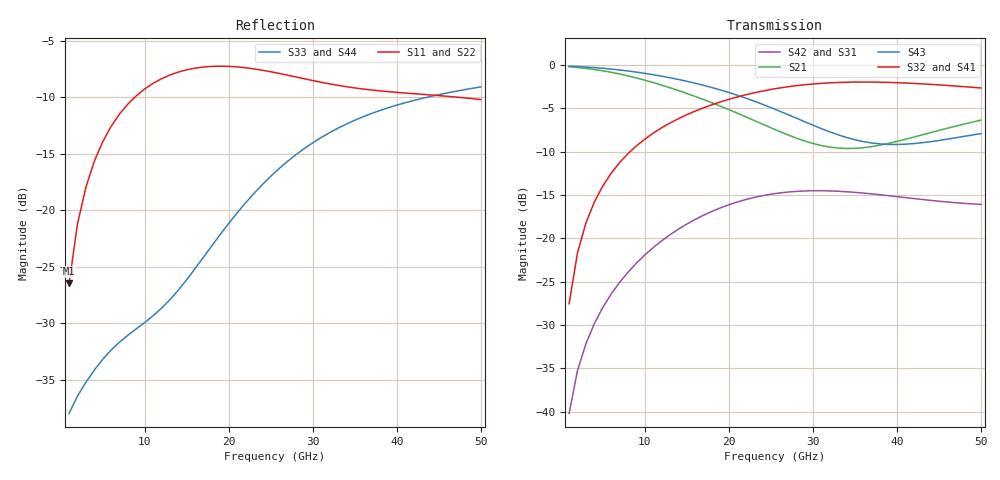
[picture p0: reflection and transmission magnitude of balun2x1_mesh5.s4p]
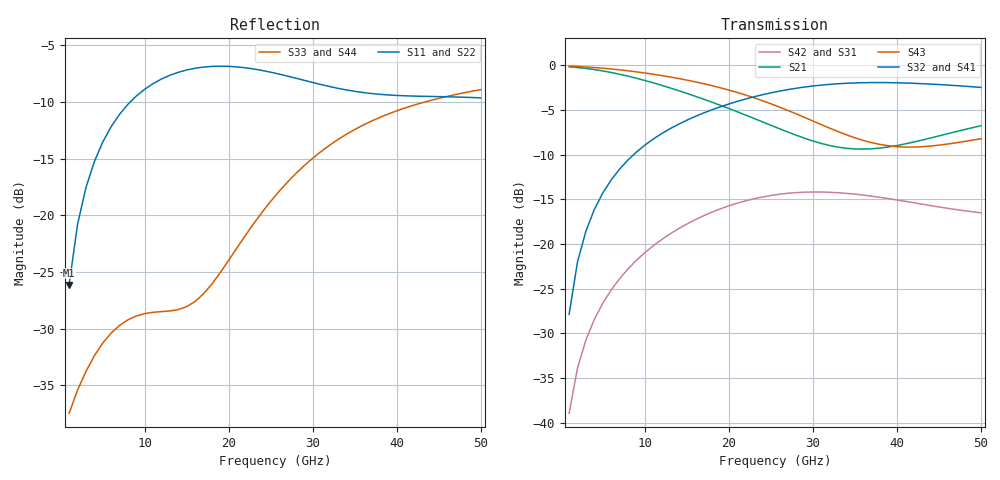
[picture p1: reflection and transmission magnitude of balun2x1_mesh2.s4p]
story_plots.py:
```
#!/usr/bin/env python
"""Plots and numbers for README.md (balun2x1 edge-coupled 2:1 balun mesh study).

Reads the de-embedded Touchstone files in results/snp/ and writes to results/plots/:

  story_uniform.png           - k, primary Q, |Sdd21|, |Sdd11| vs. frequency, uniform order-2 mesh
  story_accuracy_vs_cost.png  - peak-Q error and Max|dS| vs. solve time, order 1, order 2, AMR

It also prints the numbers quoted in README.md.

Figures of merit, ports 1/2 = primary pair, ports 3/4 = secondary pair:
  Zp = Z11 - Z12 - Z21 + Z22,  Zs = Z33 - Z34 - Z43 + Z44,  Zm = Z13 - Z14 - Z23 + Z24
  L = Im(Z)/w,  Q = Im(Z)/Re(Z),  k = |Im(Zm)| / sqrt(Im(Zp) * Im(Zs))
  Sdd11, Sdd21: differential 2-port (Zp, Zm, Zm, Zs) converted to S at the
  system impedances 200 ohm (primary) and 50 ohm (secondary).
Reference for all errors: 1 um uniform mesh, order 2.
"""
import os
import numpy as np
import skrf as rf
import matplotlib
matplotlib.use("Agg")
import matplotlib.pyplot as plt

HERE = os.path.dirname(os.path.abspath(__file__))
SNP_DIR = os.path.join(HERE, "snp")
PLOT_DIR = os.path.join(HERE, "plots")

Z01, Z02 = 200.0, 50.0
L_FREQ = 10e9
F_COIL_MAX = 25e9  # primary self-resonance at 27-30 GHz; L, k, Q lose their meaning above

UNIFORM = [
    ("5 µm", "balun2x1_mesh5.s4p", "#86b6ef"),
    ("2 µm", "balun2x1_mesh2.s4p", "#2a78d6"),
    ("1 µm", "balun2x1_mesh1.s4p", "#0d366b"),
]
ORDER1 = [
    ("5 µm", "balun2x1_mesh5_order1.s4p"),
    ("2 µm", "balun2x1_mesh2_order1.s4p"),
    ("1 µm", "balun2x1_mesh1_order1.s4p"),
]
AMR = ("AMR final", "balun2x1_amr2_final.s4p")
REFERENCE = "balun2x1_mesh1.s4p"

# solve times in minutes, from the Palace logs; AMR value is cumulative over all iterations
SOLVE_MIN = {
    "balun2x1_mesh5.s4p": 4 + 3 / 60,
    "balun2x1_mesh2.s4p": 11 + 18 / 60,
    "balun2x1_mesh1.s4p": 27 + 5 / 60,
    "balun2x1_mesh5_order1.s4p": 25.6 / 60,
    "balun2x1_mesh2_order1.s4p": 1 + 17 / 60,
    "balun2x1_mesh1_order1.s4p": 2 + 24 / 60,
    "balun2x1_amr2_final.s4p": 32 + 36 / 60,
}

INK = "#0b0b0b"
INK2 = "#52514e"
GRID = "#e4e3de"
BLUE = "#2a78d6"
ORANGE = "#eb6834"
AQUA = "#1baf7a"


def load(fname):
    return rf.Network(os.path.join(SNP_DIR, fname))


def merits(ntw):
    z = ntw.z
    w = 2 * np.pi * ntw.f
    zp = z[:, 0, 0] - z[:, 0, 1] - z[:, 1, 0] + z[:, 1, 1]
    zs = z[:, 2, 2] - z[:, 2, 3] - z[:, 3, 2] + z[:, 3, 3]
    zm = z[:, 0, 2] - z[:, 0, 3] - z[:, 1, 2] + z[:, 1, 3]
    d = (zp + Z01) * (zs + Z02) - zm * zm
    sdd11 = ((zp - Z01) * (zs + Z02) - zm * zm) / d
    sdd21 = 2 * zm * np.sqrt(Z01 * Z02) / d
    return {
        "Lp": zp.imag / w * 1e9,
        "Ls": zs.imag / w * 1e9,
        "Qp": zp.imag / zp.real,
        "Qs": zs.imag / zs.real,
        "k": np.abs(zm.imag) / np.sqrt(np.abs(zp.imag * zs.imag)),
        "Sdd21": 20 * np.log10(np.abs(sdd21)),
        "Sdd11": 20 * np.log10(np.abs(sdd11)),
    }


def at(ntw, values, f_hz):
    return np.interp(f_hz, ntw.f, values)


def style(ax):
    ax.grid(True, color=GRID, linewidth=0.8)
    ax.set_axisbelow(True)
    for side in ("top", "right"):
        ax.spines[side].set_visible(False)
    for side in ("left", "bottom"):
        ax.spines[side].set_color(INK2)
    ax.tick_params(colors=INK2, labelsize=9)


def plot_uniform():
    panels = [
        ("k", "Coupling factor k"),
        ("Qp", "Primary Q"),
        ("Sdd21", "|Sdd21| at 200 Ω / 50 Ω (dB)"),
        ("Sdd11", "|Sdd11| at 200 Ω / 50 Ω (dB)"),
    ]
    fig, axes = plt.subplots(2, 2, figsize=(10, 6.6))
    for label, fname, color in UNIFORM:
        ntw = load(fname)
        m = merits(ntw)
        coil_range = ntw.f <= F_COIL_MAX
        for ax, (key, _) in zip(axes.flat, panels):
            sel = coil_range if key in ("k", "Qp") else slice(None)
            ax.plot(ntw.f[sel] / 1e9, m[key][sel], color=color, linewidth=2, label=label)
    for ax, (_, title) in zip(axes.flat, panels):
        style(ax)
        ax.set_title(title, loc="left", fontsize=11, color=INK)
    axes[1, 0].set_ylim(-3, -1)
    for ax in axes.flat:
        ax.set_xlabel("Frequency (GHz)", color=INK2)
    handles, labels = axes[0, 0].get_legend_handles_labels()
    fig.legend(handles, labels, loc="upper center", ncol=3, frameon=False, fontsize=9,
               title="refined_cellsize (uniform, order 2)", title_fontsize=9)
    fig.tight_layout(rect=(0, 0, 1, 0.92))
    out = os.path.join(PLOT_DIR, "story_uniform.png")
    fig.savefig(out, dpi=130, facecolor="white")
    plt.close(fig)
    print("wrote", out)


def plot_accuracy_vs_cost():
    ref = load(REFERENCE)
    q_ref = merits(ref)["Qp"].max()

    def err(fname):
        ntw = load(fname)
        return (abs(merits(ntw)["Qp"].max() / q_ref - 1) * 100, np.abs(ntw.s - ref.s).max())

    fig, axes = plt.subplots(1, 2, figsize=(10, 4.2), sharex=True)
    series = [
        ("order 2, uniform", [(l, f) for l, f, _ in UNIFORM[:-1]], BLUE, "o"),
        ("order 1, uniform", ORDER1, ORANGE, "s"),
    ]
    for name, runs, color, marker in series:
        xs = [SOLVE_MIN[f] for _, f in runs]
        errs = [err(f) for _, f in runs]
        for ax, idx in zip(axes, (0, 1)):
            ys = [e[idx] for e in errs]
            ax.plot(xs, ys, color=color, linewidth=2, marker=marker, markersize=8, label=name, zorder=3)
            for (label, _), x, y in zip(runs, xs, ys):
                ax.annotate(label, (x, y), textcoords="offset points", xytext=(6, 5), fontsize=8, color=INK)
    e_amr = err(AMR[1])
    for ax, y in zip(axes, e_amr):
        ax.plot([SOLVE_MIN[AMR[1]]], [y], color=AQUA, marker="D", markersize=9, linestyle="none",
                label="AMR, 2 iterations", zorder=3)
    for ax, title in zip(axes, ("|Peak primary Q error| (%)", "Max |ΔS| (linear)")):
        style(ax)
        ax.set_title(title, loc="left", fontsize=11, color=INK)
        ax.set_xscale("log")
        ax.set_xticks([0.2, 0.5, 1, 2, 5, 10, 20, 50])
        ax.set_xticklabels(["0.2", "0.5", "1", "2", "5", "10", "20", "50"])
        ax.set_xlim(0.2, 60)
        ax.set_ylim(bottom=0)
        ax.set_xlabel("Solve time (min, log scale)", color=INK2)
        ax.axvline(SOLVE_MIN[REFERENCE], color=INK2, linewidth=1, linestyle=":")
    axes[0].text(SOLVE_MIN[REFERENCE], axes[0].get_ylim()[1], " 1 µm reference\n run (27 min)",
                 fontsize=8, color=INK2, va="top")
    handles, labels = axes[0].get_legend_handles_labels()
    fig.legend(handles, labels, loc="upper center", ncol=3, frameon=False, fontsize=9,
               title="error vs. 1 µm uniform mesh, order 2", title_fontsize=9)
    fig.tight_layout(rect=(0, 0, 1, 0.86))
    out = os.path.join(PLOT_DIR, "story_accuracy_vs_cost.png")
    fig.savefig(out, dpi=130, facecolor="white")
    plt.close(fig)
    print("wrote", out)


def print_numbers():
    ref = load(REFERENCE)
    rows = [(l + ", order 2", f) for l, f, _ in UNIFORM] + [(l + ", order 1", f) for l, f in ORDER1] + [AMR]
    print()
    print(f"{'variant':15s} {'Lp@10':>6s} {'Ls@10':>6s} {'k@10':>6s} {'Qp pk':>6s} {'Qs pk':>6s} "
          f"{'Sdd21 pk':>8s} {'@GHz':>5s} {'Sdd11 min':>9s} {'MaxdS':>7s} {'min':>5s}")
    for label, fname in rows:
        ntw = load(fname)
        m = merits(ntw)
        print(f"{label:15s} {at(ntw, m['Lp'], L_FREQ):6.3f} {at(ntw, m['Ls'], L_FREQ):6.3f} "
              f"{at(ntw, m['k'], L_FREQ):6.3f} {m['Qp'].max():6.2f} {m['Qs'].max():6.2f} "
              f"{m['Sdd21'].max():8.2f} {ntw.f[m['Sdd21'].argmax()] / 1e9:5.0f} {m['Sdd11'].min():9.1f} "
              f"{np.abs(ntw.s - ref.s).max():7.4f} {SOLVE_MIN[fname]:5.1f}")


if __name__ == "__main__":
    os.makedirs(PLOT_DIR, exist_ok=True)
    plot_uniform()
    plot_accuracy_vs_cost()
    print_numbers()
```
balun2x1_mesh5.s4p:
! Created with skrf 2.1.0 (http://scikit-rf.org).
# GHz S DB R 50.0
! Port[1] = P1
! Port[2] = P2
! Port[3] = P3
! Port[4] = P4
!freq dBS11 angS11 dBS12 angS12 dBS13 angS13
! dBS14 angS14
! dBS21 angS21 dBS22 angS22 dBS23 angS23
! dBS24 angS24
! dBS31 angS31 dBS32 angS32 dBS33 angS33
! dBS34 angS34
! dBS41 angS41 dBS42 angS42 dBS43 angS43
! dBS44 angS44
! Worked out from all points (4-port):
!   50 points, 1 GHz to 50 GHz, reference 50 ohm
!   strongest paths, dB at 1 GHz, 13 GHz, 26 GHz, 38 GHz, 50 GHz:
!     S32: -27.5, -6.7, -2.6, -2.0, -2.6
!     S41: -27.5, -6.7, -2.7, -2.0, -2.7
!     S43: -0.1, -1.5, -5.3, -9.1, -7.9
!     S21: -0.2, -2.6, -7.6, -9.2, -6.4
!     S42: -40.2, -19.6, -14.8, -15.0, -16.1
!     S31: -40.2, -19.7, -14.9, -15.2, -16.1
!   lowest |S11| = -26.5 dB at 1 GHz (marker M1), VSWR 1.10, Z = 52 + j4.43 ohm
!   |S11| at or under -10 dB: start of sweep to 8.832 GHz; 47.09 GHz to end of sweep
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1  -26.47 63.7  -0.19 -5.4  -40.18 -112.0  -27.52 84.5
   -0.19 -5.4  -26.47 63.7  -27.52 84.4  -40.17 -112.1
   -40.18 -112.0  -27.52 84.4  -37.97 15.8  -0.12 -2.7
   -27.52 84.5  -40.17 -112.1  -0.12 -2.7  -37.96 15.8
27  -8.06 -18.2  -8.03 -139.3  -14.83 59.6  -2.52 -0.0
    -8.03 -139.3  -8.23 -19.9  -2.50 -0.2  -14.65 57.7
    -14.83 59.6  -2.50 -0.2  -15.68 170.7  -5.69 -51.1
    -2.52 -0.0  -14.65 57.7  -5.69 -51.1  -15.49 170.3
50  -10.22 -45.6  -6.35 80.1  -16.15 -7.6  -2.67 -56.1
    -6.35 80.1  -10.58 -46.3  -2.64 -56.7  -16.06 -11.7
    -16.15 -7.6  -2.64 -56.7  -9.10 91.1  -7.90 -26.5
    -2.67 -56.1  -16.06 -11.7  -7.90 -26.5  -8.93 90.2
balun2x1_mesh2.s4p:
! Created with skrf 2.1.0 (http://scikit-rf.org).
# GHz S DB R 50.0
! Port[1] = P1
! Port[2] = P2
! Port[3] = P3
! Port[4] = P4
!freq dBS11 angS11 dBS12 angS12 dBS13 angS13
! dBS14 angS14
! dBS21 angS21 dBS22 angS22 dBS23 angS23
! dBS24 angS24
! dBS31 angS31 dBS32 angS32 dBS33 angS33
! dBS34 angS34
! dBS41 angS41 dBS42 angS42 dBS43 angS43
! dBS44 angS44
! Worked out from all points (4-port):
!   50 points, 1 GHz to 50 GHz, reference 50 ohm
!   strongest paths, dB at 1 GHz, 13 GHz, 26 GHz, 38 GHz, 50 GHz:
!     S32: -27.9, -7.1, -2.9, -2.0, -2.5
!     S41: -27.9, -7.1, -2.9, -2.0, -2.5
!     S43: -0.1, -1.3, -4.7, -8.9, -8.2
!     S21: -0.2, -2.5, -7.1, -9.3, -6.8
!     S42: -38.9, -18.9, -14.4, -14.8, -16.5
!     S31: -39.0, -18.9, -14.6, -15.0, -16.7
!   lowest |S11| = -26.1 dB at 1 GHz (marker M1), VSWR 1.10, Z = 52 + j4.64 ohm
!   |S11| at or under -10 dB: start of sweep to 8.294 GHz
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1  -26.14 64.6  -0.19 -5.3  -38.95 -109.4  -27.87 84.5
   -0.19 -5.3  -26.14 64.5  -27.87 84.4  -38.95 -109.5
   -38.95 -109.4  -27.87 84.4  -37.47 23.3  -0.12 -2.6
   -27.87 84.5  -38.95 -109.5  -0.12 -2.6  -37.47 23.3
28  -7.92 -18.7  -7.83 -138.0  -14.43 61.5  -2.61 0.1
    -7.83 -138.0  -8.08 -20.3  -2.59 -0.1  -14.26 59.8
    -14.43 61.5  -2.59 -0.1  -16.31 168.0  -5.45 -52.5
    -2.61 0.1  -14.26 59.8  -5.45 -52.5  -16.11 167.9
50  -9.65 -37.8  -6.78 87.9  -16.69 -7.3  -2.54 -54.0
    -6.78 87.9  -10.01 -38.2  -2.49 -54.5  -16.52 -11.7
    -16.69 -7.3  -2.49 -54.5  -8.92 89.4  -8.24 -29.3
    -2.54 -54.0  -16.52 -11.7  -8.24 -29.3  -8.76 88.8
